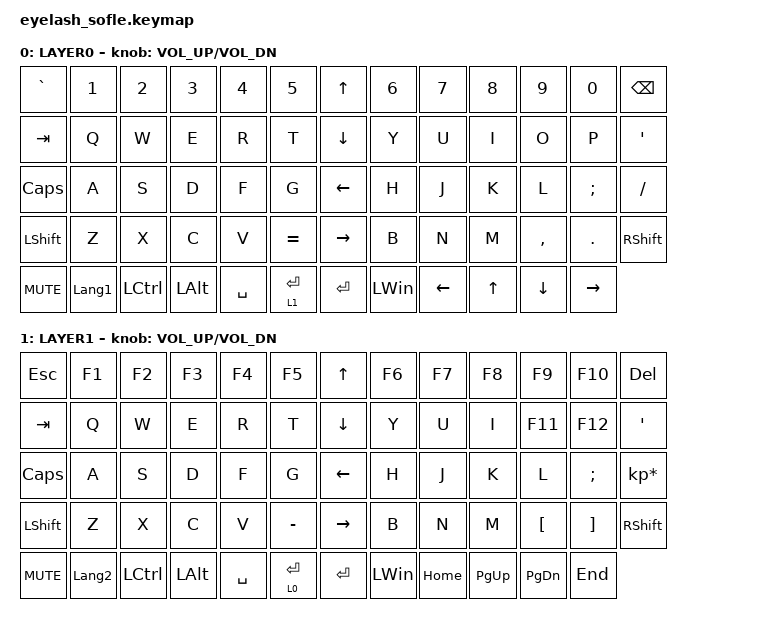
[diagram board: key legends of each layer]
#define ZMK_POINTING_DEFAULT_MOVE_VAL 1200  // 600
#define ZMK_POINTING_DEFAULT_SCRL_VAL 25   // 10

#include <input/processors.dtsi>
#include <zephyr/dt-bindings/input/input-event-codes.h>
#include <behaviors.dtsi>
#include <dt-bindings/zmk/keys.h>
#include <dt-bindings/zmk/pointing.h>

&mmv_input_listener { input-processors = <&zip_xy_scaler 2 1>; };

&msc_input_listener { input-processors = <&zip_scroll_scaler 2 1>; };

&msc {
    acceleration-exponent = <1>;      // 0
    time-to-max-speed-ms = <100>;       // 300
    delay-ms = <0>;                   // 0
};

&mmv {
    time-to-max-speed-ms = <500>;
    acceleration-exponent = <1>;
    trigger-period-ms = <16>;
};

&soft_off { hold-time-ms = <2000>; };

/ {
    scroll_encoder: scroll_encoder {
        compatible = "zmk,behavior-sensor-rotate";
        #sensor-binding-cells = <0>;
        bindings = <&msc SCRL_DOWN>, <&msc SCRL_UP>;

        tap-ms = <100>;
    };

    behaviors {
    };

    combos {
        compatible = "zmk,combos";

        softoff {
            bindings = <&soft_off>;
            key-positions = <14 28 40>;
        };
    };

    keymap {
        compatible = "zmk,keymap";

        layer0 {
            bindings = <
&kp GRAVE   &kp N1          &kp N2     &kp N3    &kp N4     &kp N5         &kp UP_ARROW     &kp N6        &kp N7    &kp N8        &kp N9     &kp N0      &kp BACKSPACE
&kp TAB     &kp Q           &kp W      &kp E     &kp R      &kp T          &kp DOWN_ARROW   &kp Y         &kp U     &kp I         &kp O      &kp P       &kp SQT
&kp CAPS    &kp A           &kp S      &kp D     &kp F      &kp G          &kp LEFT_ARROW   &kp H         &kp J     &kp K         &kp L      &kp SEMI    &kp SLASH
&kp LSHFT   &kp Z           &kp X      &kp C     &kp V      &kp EQUAL      &kp RIGHT_ARROW  &kp B         &kp N     &kp M         &kp COMMA  &kp PERIOD  &kp RSHIFT
&kp C_MUTE  &kp LANGUAGE_1  &kp LCTRL  &kp LALT  &kp SPACE  &lt 1 ENTER    &kp ENTER        &kp LEFT_WIN  &kp LEFT  &kp UP_ARROW  &kp DOWN   &kp RIGHT
            >;

            sensor-bindings = <&inc_dec_kp C_VOLUME_UP C_VOL_DN>;
            display-name = "LAYER0";
        };

        layer1 {
            display-name = "LAYER1";
            bindings = <
&kp ESC     &kp F1          &kp F2     &kp F3        &kp F4     &kp F5         &kp UP_ARROW     &kp F6        &kp F7    &kp F8       &kp F9         &kp F10            &kp DEL
&kp TAB     &kp Q           &kp W      &kp E         &kp R      &kp T          &kp DOWN_ARROW   &kp Y         &kp U     &kp I        &kp F11        &kp F12            &kp SQT
&kp CAPS    &kp A           &kp S      &kp D         &kp F      &kp G          &kp LEFT_ARROW   &kp H         &kp J     &kp K        &kp L          &kp SEMI           &kp KP_MULTIPLY
&kp LSHFT   &kp Z           &kp X      &kp C         &kp V      &kp MINUS      &kp RIGHT_ARROW  &kp B         &kp N     &kp M        &kp LBKT       &kp RIGHT_BRACKET  &kp RSHIFT
&kp C_MUTE  &kp LANGUAGE_2  &kp LCTRL  &kp LEFT_ALT  &kp SPACE  &lt 0 ENTER    &kp ENTER        &kp LEFT_WIN  &kp HOME  &kp PAGE_UP  &kp PAGE_DOWN  &kp END
            >;

            sensor-bindings = <&inc_dec_kp C_VOLUME_UP C_VOL_DN>;
        };
    };
};
